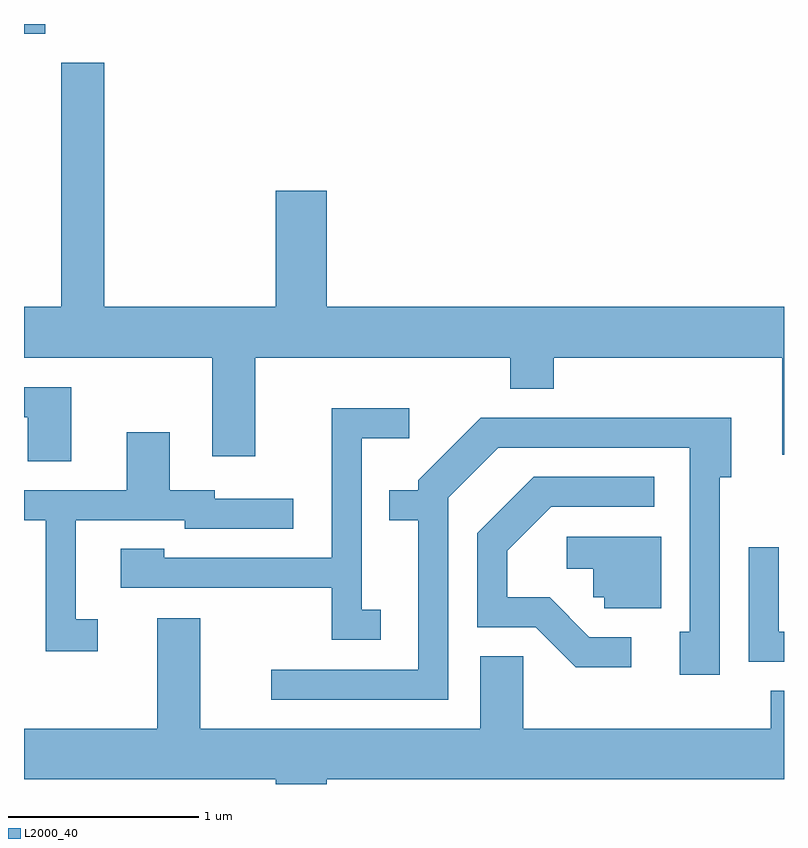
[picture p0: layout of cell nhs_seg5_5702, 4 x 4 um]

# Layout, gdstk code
import gdstk
lib = gdstk.Library(unit=1e-6, precision=1e-09)
def R(c, l, rs):  # rectangles x0, y0, x1, y1
    for r in rs: c.add(gdstk.rectangle(r[:2], r[2:], *l))
def P(c, l, *ps):  # polygons
    for p in ps: c.add(gdstk.Polygon(p, *l))
L2000_40 = (2000, 40)

nhs_seg5_5702 = lib.new_cell('nhs_seg5_5702')
R(nhs_seg5_5702, L2000_40, [(353.611,1494.021,353.724,1494.072)])
P(nhs_seg5_5702, L2000_40, [(354.601,1491.796),(354.829,1491.796),(354.829,1492.316),(356.171,1492.316),(356.171,1492.151),(356.399,1492.151),(356.399,1492.316),(357.601,1492.316),(357.601,1491.806),(357.611,1491.806),(357.611,1492.584),(355.204,1492.584),(355.204,1493.194),(354.936,1493.194),(354.936,1492.584),(354.034,1492.584),(354.034,1493.869),(353.806,1493.869),(353.806,1492.584),(353.611,1492.584),(353.611,1492.316),(354.601,1492.316)],
  [(353.859,1492.159),(353.611,1492.159),(353.611,1492.001),(353.631,1492.001),(353.631,1491.771),(353.859,1491.771)],
  [(355.488,1490.989),(355.389,1490.989),(355.389,1491.891),(355.638,1491.891),(355.638,1492.049),(355.231,1492.049),(355.231,1491.264),(354.349,1491.264),(354.349,1491.309),(354.121,1491.309),(354.121,1491.106),(355.231,1491.106),(355.231,1490.831),(355.488,1490.831)],
  [(355.844,1491.579),(356.107,1491.841),(357.116,1491.841),(357.116,1490.874),(357.061,1490.874),(357.061,1490.646),(357.274,1490.646),(357.274,1491.686),(357.334,1491.686),(357.334,1491.999),(356.014,1491.999),(355.686,1491.672),(355.686,1491.619),(355.533,1491.619),(355.533,1491.461),(355.686,1491.461),(355.686,1490.674),(354.913,1490.674),(354.913,1490.516),(355.844,1490.516)],
  [(353.998,1490.939),(353.884,1490.939),(353.884,1491.461),(354.456,1491.461),(354.456,1491.416),(355.028,1491.416),(355.028,1491.574),(354.614,1491.574),(354.614,1491.619),(354.379,1491.619),(354.379,1491.924),(354.151,1491.924),(354.151,1491.619),(353.611,1491.619),(353.611,1491.461),(353.726,1491.461),(353.726,1490.771),(353.998,1490.771)],
  [(356.808,1490.844),(356.587,1490.844),(356.377,1491.054),(356.154,1491.054),(356.154,1491.299),(356.387,1491.531),(356.928,1491.531),(356.928,1491.689),(356.294,1491.689),(355.996,1491.392),(355.996,1490.896),(356.304,1490.896),(356.514,1490.686),(356.808,1490.686)],
  [(356.964,1491.374),(356.468,1491.374),(356.468,1491.206),(356.606,1491.206),(356.606,1491.056),(356.666,1491.056),(356.666,1490.996),(356.964,1490.996)],
  [(357.611,1490.874),(357.584,1490.874),(357.584,1491.318),(357.426,1491.318),(357.426,1490.716),(357.611,1490.716)],
  [(355.204,1490.096),(357.611,1490.096),(357.611,1490.564),(357.541,1490.564),(357.541,1490.364),(356.239,1490.364),(356.239,1490.744),(356.011,1490.744),(356.011,1490.364),(354.539,1490.364),(354.539,1490.944),(354.311,1490.944),(354.311,1490.364),(353.611,1490.364),(353.611,1490.096),(354.936,1490.096),(354.936,1490.072),(355.204,1490.072)])

lib.write_gds('nhs_seg5_5702.gds')
